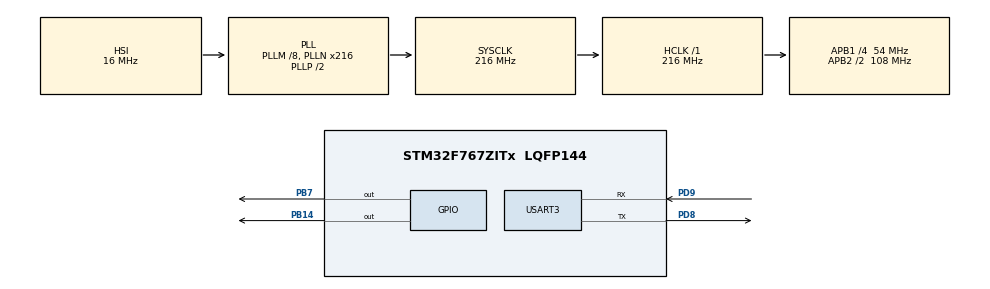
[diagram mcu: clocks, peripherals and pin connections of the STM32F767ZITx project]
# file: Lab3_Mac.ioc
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CORTEX_M7.default_mode_Activation=1
<<<<<<< HEAD
=======
>>>>>>> d06b0b5 (feat: add lab1,3,4,5)
Mcu.Family=STM32F7
Mcu.Name=STM32F767ZITx
Mcu.Package=LQFP144
<<<<<<< HEAD
=======
>>>>>>> d06b0b5 (feat: add lab1,3,4,5)
NVIC.PriorityGroup=NVIC_PRIORITYGROUP_4
PB14.Signal=GPIO_Output
PB7.Signal=GPIO_Output
<<<<<<< HEAD
=======
>>>>>>> d06b0b5 (feat: add lab1,3,4,5)
PD8.Mode=Asynchronous
PD8.Signal=USART3_TX
PD9.Mode=Asynchronous
PD9.Signal=USART3_RX
<<<<<<< HEAD
=======
>>>>>>> d06b0b5 (feat: add lab1,3,4,5)
ProjectManager.HeapSize=0x200
<<<<<<< HEAD
=======
>>>>>>> d06b0b5 (feat: add lab1,3,4,5)
ProjectManager.StackSize=0x400
ProjectManager.TargetToolchain=STM32CubeIDE
<<<<<<< HEAD
=======
>>>>>>> d06b0b5 (feat: add lab1,3,4,5)
RCC.AHBFreq_Value=216000000
RCC.APB1CLKDivider=RCC_HCLK_DIV4
RCC.APB1Freq_Value=54000000
RCC.APB1TimFreq_Value=108000000
RCC.APB2CLKDivider=RCC_HCLK_DIV2
RCC.APB2Freq_Value=108000000
RCC.APB2TimFreq_Value=216000000
RCC.CortexFreq_Value=216000000
RCC.HCLKFreq_Value=216000000
RCC.HSE_VALUE=25000000
RCC.HSI_VALUE=16000000
RCC.LSE_VALUE=32768
RCC.PLLM=8
RCC.PLLN=216
RCC.SYSCLKFreq_VALUE=216000000
RCC.SYSCLKSource=RCC_SYSCLKSOURCE_PLLCLK
RCC.USBFreq_Value=216000000
RCC.VCOOutputFreq_Value=432000000
USART3.VirtualMode-Asynchronous=VM_ASYNC
board=custom
<<<<<<< HEAD
=======
>>>>>>> d06b0b5 (feat: add lab1,3,4,5)

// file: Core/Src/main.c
<<<<<<< HEAD
/* USER CODE BEGIN Header */
/**
  ******************************************************************************
  * @file           : main.c
  * @brief          : Main program body
  ******************************************************************************
  * @attention
  *
  * Copyright (c) 2025 STMicroelectronics.
  * All rights reserved.
  *
  * This software is licensed under terms that can be found in the LICENSE file
  * in the root directory of this software component.
  * If no LICENSE file comes with this software, it is provided AS-IS.
  *
  ******************************************************************************
  */
/* USER CODE END Header */

#include "main.h"

/* USER CODE BEGIN Includes */
#include "string.h"
/* USER CODE END Includes */

UART_HandleTypeDef huart3;

void SystemClock_Config(void);
static void MPU_Config(void);
static void MX_GPIO_Init(void);
static void MX_USART3_UART_Init(void);

int main(void)
{
  /* MPU Configuration--------------------------------------------------------*/
  MPU_Config();

  /* Reset of all peripherals, Initializes the Flash interface and the Systick. */
  HAL_Init();

  /* Configure the system clock */
  SystemClock_Config();

  /* Initialize all configured peripherals */
  MX_GPIO_Init();
  MX_USART3_UART_Init();

  /* USER CODE BEGIN 2 */

  uint8_t rx;
  char prompt[]     = "Input ==> ";
  char quit_msg[]   = "QUIT\r\n";
  char newline[]    = "\r\n";
  char name[]       = "67015105\r\nPathorn Somsaen\r\n";
  char unknow_msg[] = "Unknown Command \r\n";

  /* USER CODE END 2 */

  /* Infinite loop */
  /* USER CODE BEGIN WHILE */
  while (1)
  {
	  //3
	  //	  HAL_UART_Transmit(&huart3, (uint8_t*)prompt,strlen(prompt),HAL_MAX_DELAY);
	  //
	  //      HAL_UART_Receive(&huart3,&rx,1,HAL_MAX_DELAY);
	  //
	  //      HAL_UART_Transmit(&huart3, &rx,1,HAL_MAX_DELAY);
	  //
	  //      HAL_UART_Transmit(&huart3,(uint8_t*)newline,strlen(newline),HAL_MAX_DELAY);
	  //
	  //      if (rx == 'q')
	  //      {
	  //          HAL_UART_Transmit(&huart3,(uint8_t*)quit_msg,strlen(quit_msg), HAL_MAX_DELAY);
	  //
	  //          while (1)
	  //          {
	  //              /* stop program */
	  //          }
	  //      }
	  HAL_UART_Transmit(&huart3, (uint8_t*)prompt, strlen(prompt), HAL_MAX_DELAY);

	  HAL_UART_Receive(&huart3, &rx, 1, HAL_MAX_DELAY);

	  HAL_UART_Transmit(&huart3, &rx, 1, HAL_MAX_DELAY);
	  HAL_UART_Transmit(&huart3, (uint8_t*)newline, strlen(newline), HAL_MAX_DELAY);

	  if (rx == 'q')
	  {
		  HAL_UART_Transmit(&huart3, (uint8_t*)quit_msg, strlen(quit_msg), HAL_MAX_DELAY);
		  while (1)
		  {
			  /* stop program */
		  }
	  }
	  else if (rx == '1')
	  {
		  HAL_GPIO_WritePin(GPIOB, GPIO_PIN_14, GPIO_PIN_SET);
		  HAL_Delay(300);
		  HAL_GPIO_WritePin(GPIOB, GPIO_PIN_14, GPIO_PIN_RESET);
	  }
	  else if (rx == '2')
	  {
		  HAL_GPIO_WritePin(GPIOB, GPIO_PIN_7, GPIO_PIN_SET);
		  HAL_Delay(300);
		  HAL_GPIO_WritePin(GPIOB, GPIO_PIN_7, GPIO_PIN_RESET);
	  }
	  else if (rx == 'm')
	  {
		  HAL_UART_Transmit(&huart3, (uint8_t*)name, strlen(name), HAL_MAX_DELAY);
	  }
	  else
	  {
		  HAL_UART_Transmit(&huart3, (uint8_t*)unknow_msg, strlen(unknow_msg), HAL_MAX_DELAY);
	  }
  }
  /* USER CODE END WHILE */
}

void SystemClock_Config(void)
{
  RCC_OscInitTypeDef RCC_OscInitStruct = {0};
  RCC_ClkInitTypeDef RCC_ClkInitStruct = {0};

  __HAL_RCC_PWR_CLK_ENABLE();
  __HAL_PWR_VOLTAGESCALING_CONFIG(PWR_REGULATOR_VOLTAGE_SCALE1);

  RCC_OscInitStruct.OscillatorType = RCC_OSCILLATORTYPE_HSI;
  RCC_OscInitStruct.HSIState = RCC_HSI_ON;
  RCC_OscInitStruct.HSICalibrationValue = RCC_HSICALIBRATION_DEFAULT;
  RCC_OscInitStruct.PLL.PLLState = RCC_PLL_ON;
  RCC_OscInitStruct.PLL.PLLSource = RCC_PLLSOURCE_HSI;
  RCC_OscInitStruct.PLL.PLLM = 8;
  RCC_OscInitStruct.PLL.PLLN = 216;
  RCC_OscInitStruct.PLL.PLLP = RCC_PLLP_DIV2;
  RCC_OscInitStruct.PLL.PLLQ = 2;
  RCC_OscInitStruct.PLL.PLLR = 2;

  if (HAL_RCC_OscConfig(&RCC_OscInitStruct) != HAL_OK)
  {
    Error_Handler();
  }

  if (HAL_PWREx_EnableOverDrive() != HAL_OK)
  {
    Error_Handler();
  }

  RCC_ClkInitStruct.ClockType = RCC_CLOCKTYPE_HCLK|RCC_CLOCKTYPE_SYSCLK
                              |RCC_CLOCKTYPE_PCLK1|RCC_CLOCKTYPE_PCLK2;
  RCC_ClkInitStruct.SYSCLKSource = RCC_SYSCLKSOURCE_PLLCLK;
  RCC_ClkInitStruct.AHBCLKDivider = RCC_SYSCLK_DIV1;
  RCC_ClkInitStruct.APB1CLKDivider = RCC_HCLK_DIV4;
  RCC_ClkInitStruct.APB2CLKDivider = RCC_HCLK_DIV2;

  if (HAL_RCC_ClockConfig(&RCC_ClkInitStruct, FLASH_LATENCY_7) != HAL_OK)
  {
    Error_Handler();
  }
}

static void MX_USART3_UART_Init(void)
{
  huart3.Instance = USART3;
  huart3.Init.BaudRate = 115200;
  huart3.Init.WordLength = UART_WORDLENGTH_8B;
  huart3.Init.StopBits = UART_STOPBITS_1;
  huart3.Init.Parity = UART_PARITY_NONE;
  huart3.Init.Mode = UART_MODE_TX_RX;
  huart3.Init.HwFlowCtl = UART_HWCONTROL_NONE;
  huart3.Init.OverSampling = UART_OVERSAMPLING_16;
  huart3.Init.OneBitSampling = UART_ONE_BIT_SAMPLE_DISABLE;
  huart3.AdvancedInit.AdvFeatureInit = UART_ADVFEATURE_NO_INIT;

  if (HAL_UART_Init(&huart3) != HAL_OK)
  {
    Error_Handler();
  }
}

static void MX_GPIO_Init(void)
{
  GPIO_InitTypeDef GPIO_InitStruct = {0};

  __HAL_RCC_GPIOB_CLK_ENABLE();
  __HAL_RCC_GPIOD_CLK_ENABLE();

  HAL_GPIO_WritePin(GPIOB, GPIO_PIN_14|GPIO_PIN_7, GPIO_PIN_RESET);

  GPIO_InitStruct.Pin = GPIO_PIN_14|GPIO_PIN_7;
  GPIO_InitStruct.Mode = GPIO_MODE_OUTPUT_PP;
  GPIO_InitStruct.Pull = GPIO_NOPULL;
  GPIO_InitStruct.Speed = GPIO_SPEED_FREQ_LOW;
  HAL_GPIO_Init(GPIOB, &GPIO_InitStruct);
}

/* MPU Configuration */
void MPU_Config(void)
{
  MPU_Region_InitTypeDef MPU_InitStruct = {0};

  HAL_MPU_Disable();

  MPU_InitStruct.Enable = MPU_REGION_ENABLE;
  MPU_InitStruct.Number = MPU_REGION_NUMBER0;
  MPU_InitStruct.BaseAddress = 0x0;
  MPU_InitStruct.Size = MPU_REGION_SIZE_4GB;
  MPU_InitStruct.SubRegionDisable = 0x87;
  MPU_InitStruct.TypeExtField = MPU_TEX_LEVEL0;
  MPU_InitStruct.AccessPermission = MPU_REGION_NO_ACCESS;
  MPU_InitStruct.DisableExec = MPU_INSTRUCTION_ACCESS_DISABLE;
  MPU_InitStruct.IsShareable = MPU_ACCESS_SHAREABLE;
  MPU_InitStruct.IsCacheable = MPU_ACCESS_NOT_CACHEABLE;
  MPU_InitStruct.IsBufferable = MPU_ACCESS_NOT_BUFFERABLE;

  HAL_MPU_ConfigRegion(&MPU_InitStruct);
  HAL_MPU_Enable(MPU_PRIVILEGED_DEFAULT);
}

/**
  * @brief Error Handler
  */
void Error_Handler(void)
{
  __disable_irq();
  while (1)
  {
  }
}

=======
/* USER CODE BEGIN Header */
/**
  ******************************************************************************
  * @file           : main.c
  * @brief          : Main program body
  ******************************************************************************
  * @attention
  *
  * Copyright (c) 2025 STMicroelectronics.
  * All rights reserved.
  *
  * This software is licensed under terms that can be found in the LICENSE file
  * in the root directory of this software component.
  * If no LICENSE file comes with this software, it is provided AS-IS.
  *
  ******************************************************************************
  */
/* USER CODE END Header */
#include "main.h"

UART_HandleTypeDef huart3;

/* USER CODE BEGIN PV */
uint8_t rx;
char ch1 = 'A';
char prompt[]     = "Input ==> ";
char quit_msg[]   = "QUIT\r\n";
char newline[]    = "\r\n";
char name[]       = "67015105\r\nPathorn Somsaen\r\n";
char unknow_msg[] = "Unknown Command \r\n";
/* USER CODE END PV */

void SystemClock_Config(void);
static void MPU_Config(void);
static void MX_GPIO_Init(void);
static void MX_USART3_UART_Init(void);

int main(void)
{

  /* MPU Configuration--------------------------------------------------------*/
  MPU_Config();

  /* MCU Configuration--------------------------------------------------------*/

  /* Reset of all peripherals, Initializes the Flash interface and the Systick. */
  HAL_Init();

  /* Configure the system clock */
  SystemClock_Config();

  /* Initialize all configured peripherals */
  MX_GPIO_Init();
  MX_USART3_UART_Init();

	/* Infinite loop */
	/* USER CODE BEGIN WHILE */
	while (1)
	{
		HAL_UART_Transmit(&huart3, (uint8_t*)"Hello World!\r\n",12,HAL_MAX_DELAY);
		HAL_Delay(500);
		HAL_UART_Transmit(&huart3, (uint8_t*)&ch1, 1, HAL_MAX_DELAY);
		HAL_Delay(500);
	}
//	  3
//	  HAL_UART_Transmit(&huart3, (uint8_t*)prompt, strlen(prompt), HAL_MAX_DELAY);
//
//	  HAL_UART_Receive(&huart3, &rx, 1, HAL_MAX_DELAY);
//
//	  HAL_UART_Transmit(&huart3, &rx, 1, HAL_MAX_DELAY);
//	  HAL_UART_Transmit(&huart3, (uint8_t*)newline, strlen(newline), HAL_MAX_DELAY);
//
//	  if (rx == 'q')
//	  {
//		  HAL_UART_Transmit(&huart3, (uint8_t*)quit_msg, strlen(quit_msg), HAL_MAX_DELAY);
//		  while (1)
//		  {
//			  /* stop program */
//		  }
//	  }
//	  else if (rx == '1')
//	  {
//		  HAL_GPIO_WritePin(GPIOB, GPIO_PIN_14, GPIO_PIN_SET);
//		  HAL_Delay(300);
//		  HAL_GPIO_WritePin(GPIOB, GPIO_PIN_14, GPIO_PIN_RESET);
//		  HAL_Delay(300);
//		  HAL_GPIO_WritePin(GPIOB, GPIO_PIN_14, GPIO_PIN_SET);
//		  HAL_Delay(300);
//		  HAL_GPIO_WritePin(GPIOB, GPIO_PIN_14, GPIO_PIN_RESET);
//		  HAL_Delay(300);
//			  HAL_GPIO_WritePin(GPIOB, GPIO_PIN_14, GPIO_PIN_SET);
//			  HAL_Delay(300);
//			  HAL_GPIO_WritePin(GPIOB, GPIO_PIN_14, GPIO_PIN_RESET);
//	  }
//	  else if (rx == '2')
//	  {
//		  HAL_GPIO_WritePin(GPIOB, GPIO_PIN_7, GPIO_PIN_SET);
//		  HAL_Delay(300);
//		  HAL_GPIO_WritePin(GPIOB, GPIO_PIN_7, GPIO_PIN_RESET);
//		  HAL_Delay(300);
//		  HAL_GPIO_WritePin(GPIOB, GPIO_PIN_7, GPIO_PIN_SET);
//		  HAL_Delay(300);
//		  HAL_GPIO_WritePin(GPIOB, GPIO_PIN_7, GPIO_PIN_RESET);
//		  HAL_Delay(300);
//		  HAL_GPIO_WritePin(GPIOB, GPIO_PIN_7, GPIO_PIN_SET);
//		  HAL_Delay(300);
//		  HAL_GPIO_WritePin(GPIOB, GPIO_PIN_7, GPIO_PIN_RESET);
//	  }
//	  else if (rx == 'm')
//	  {
//		  HAL_UART_Transmit(&huart3, (uint8_t*)name, strlen(name), HAL_MAX_DELAY);
//	  }
//	  else
//	  {
//		  HAL_UART_Transmit(&huart3, (uint8_t*)unknow_msg, strlen(unknow_msg), HAL_MAX_DELAY);
//	  }
//	}
	/* USER CODE END WHILE */
}

void SystemClock_Config(void)
{
  RCC_OscInitTypeDef RCC_OscInitStruct = {0};
  RCC_ClkInitTypeDef RCC_ClkInitStruct = {0};

  /** Configure the main internal regulator output voltage
  */
  __HAL_RCC_PWR_CLK_ENABLE();
  __HAL_PWR_VOLTAGESCALING_CONFIG(PWR_REGULATOR_VOLTAGE_SCALE1);

  /** Initializes the RCC Oscillators according to the specified parameters
  * in the RCC_OscInitTypeDef structure.
  */
  RCC_OscInitStruct.OscillatorType = RCC_OSCILLATORTYPE_HSI;
  RCC_OscInitStruct.HSIState = RCC_HSI_ON;
  RCC_OscInitStruct.HSICalibrationValue = RCC_HSICALIBRATION_DEFAULT;
  RCC_OscInitStruct.PLL.PLLState = RCC_PLL_ON;
  RCC_OscInitStruct.PLL.PLLSource = RCC_PLLSOURCE_HSI;
  RCC_OscInitStruct.PLL.PLLM = 8;
  RCC_OscInitStruct.PLL.PLLN = 216;
  RCC_OscInitStruct.PLL.PLLP = RCC_PLLP_DIV2;
  RCC_OscInitStruct.PLL.PLLQ = 2;
  RCC_OscInitStruct.PLL.PLLR = 2;
  if (HAL_RCC_OscConfig(&RCC_OscInitStruct) != HAL_OK)
  {
    Error_Handler();
  }

  /** Activate the Over-Drive mode
  */
  if (HAL_PWREx_EnableOverDrive() != HAL_OK)
  {
    Error_Handler();
  }

  /** Initializes the CPU, AHB and APB buses clocks
  */
  RCC_ClkInitStruct.ClockType = RCC_CLOCKTYPE_HCLK|RCC_CLOCKTYPE_SYSCLK
                              |RCC_CLOCKTYPE_PCLK1|RCC_CLOCKTYPE_PCLK2;
  RCC_ClkInitStruct.SYSCLKSource = RCC_SYSCLKSOURCE_PLLCLK;
  RCC_ClkInitStruct.AHBCLKDivider = RCC_SYSCLK_DIV1;
  RCC_ClkInitStruct.APB1CLKDivider = RCC_HCLK_DIV4;
  RCC_ClkInitStruct.APB2CLKDivider = RCC_HCLK_DIV2;

  if (HAL_RCC_ClockConfig(&RCC_ClkInitStruct, FLASH_LATENCY_7) != HAL_OK)
  {
    Error_Handler();
  }
}

static void MX_USART3_UART_Init(void)
{

  huart3.Instance = USART3;
  huart3.Init.BaudRate = 115200;
  huart3.Init.WordLength = UART_WORDLENGTH_8B;
  huart3.Init.StopBits = UART_STOPBITS_1;
  huart3.Init.Parity = UART_PARITY_NONE;
  huart3.Init.Mode = UART_MODE_TX_RX;
  huart3.Init.HwFlowCtl = UART_HWCONTROL_NONE;
  huart3.Init.OverSampling = UART_OVERSAMPLING_16;
  huart3.Init.OneBitSampling = UART_ONE_BIT_SAMPLE_DISABLE;
  huart3.AdvancedInit.AdvFeatureInit = UART_ADVFEATURE_NO_INIT;
  if (HAL_UART_Init(&huart3) != HAL_OK)
  {
    Error_Handler();
  }

}

static void MX_GPIO_Init(void)
{
  GPIO_InitTypeDef GPIO_InitStruct = {0};

  /* GPIO Ports Clock Enable */
  __HAL_RCC_GPIOB_CLK_ENABLE();
  __HAL_RCC_GPIOD_CLK_ENABLE();

  /*Configure GPIO pin Output Level */
  HAL_GPIO_WritePin(GPIOB, GPIO_PIN_14|GPIO_PIN_7, GPIO_PIN_RESET);

  /*Configure GPIO pins : PB14 PB7 */
  GPIO_InitStruct.Pin = GPIO_PIN_14|GPIO_PIN_7;
  GPIO_InitStruct.Mode = GPIO_MODE_OUTPUT_PP;
  GPIO_InitStruct.Pull = GPIO_NOPULL;
  GPIO_InitStruct.Speed = GPIO_SPEED_FREQ_LOW;
  HAL_GPIO_Init(GPIOB, &GPIO_InitStruct);

}

 /* MPU Configuration */

void MPU_Config(void)
{
  MPU_Region_InitTypeDef MPU_InitStruct = {0};

  /* Disables the MPU */
  HAL_MPU_Disable();

  /** Initializes and configures the Region and the memory to be protected
  */
  MPU_InitStruct.Enable = MPU_REGION_ENABLE;
  MPU_InitStruct.Number = MPU_REGION_NUMBER0;
  MPU_InitStruct.BaseAddress = 0x0;
  MPU_InitStruct.Size = MPU_REGION_SIZE_4GB;
  MPU_InitStruct.SubRegionDisable = 0x87;
  MPU_InitStruct.TypeExtField = MPU_TEX_LEVEL0;
  MPU_InitStruct.AccessPermission = MPU_REGION_NO_ACCESS;
  MPU_InitStruct.DisableExec = MPU_INSTRUCTION_ACCESS_DISABLE;
  MPU_InitStruct.IsShareable = MPU_ACCESS_SHAREABLE;
  MPU_InitStruct.IsCacheable = MPU_ACCESS_NOT_CACHEABLE;
  MPU_InitStruct.IsBufferable = MPU_ACCESS_NOT_BUFFERABLE;

  HAL_MPU_ConfigRegion(&MPU_InitStruct);
  /* Enables the MPU */
  HAL_MPU_Enable(MPU_PRIVILEGED_DEFAULT);

}

void Error_Handler(void)
{
  __disable_irq();
  while (1)
  {
  }
}
>>>>>>> d06b0b5 (feat: add lab1,3,4,5)
